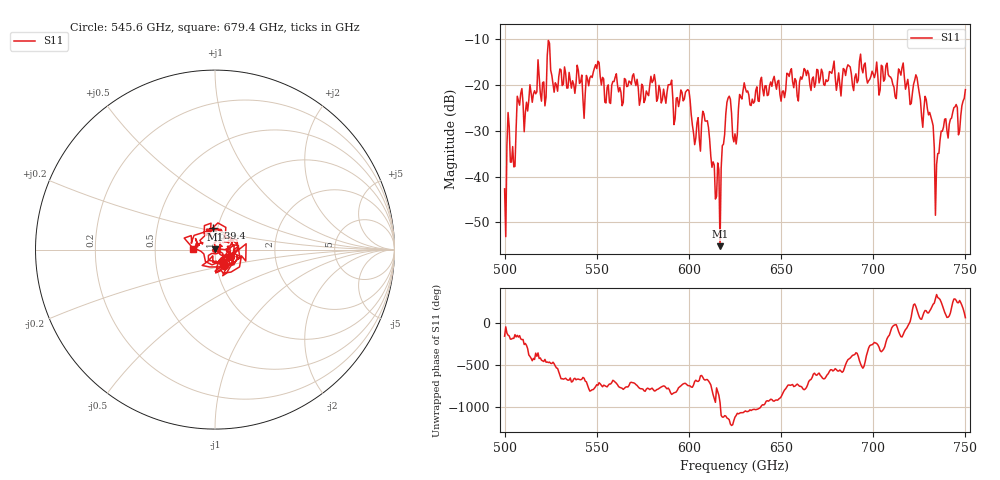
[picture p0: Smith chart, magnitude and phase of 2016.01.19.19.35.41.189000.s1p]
!Created with skrf (http://scikit-rf.org).
# GHz S RI R 50.0
!freq ReS11 ImS11
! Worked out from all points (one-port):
!   401 points, 500 GHz to 750 GHz, reference 50 ohm
!   lowest |S11| = -55.2 dB at 616.9 GHz (marker M1), VSWR 1.00, Z = 49.9 + j0.118 ohm
!   |S11| at or under -10 dB: start of sweep to end of sweep
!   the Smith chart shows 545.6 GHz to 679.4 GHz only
!   S11 on the Smith chart (normalised r, x): 545.6 GHz: 1.09, -0.19; 639.4 GHz: 0.95, +0.23; 679.4 GHz: 0.78, +0.01
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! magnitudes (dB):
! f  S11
! 500 GHz  -42.7
! 502.5 GHz  -29.1
! 505 GHz  -37.9
! 508.1 GHz  -24.4
! 521.2 GHz  -19.3
! 524.4 GHz  -10.9
! 527.5 GHz  -19.5
! 531.2 GHz  -20.1
! 545.6 GHz  -20.1
! 562.5 GHz  -20.5
! 593.8 GHz  -22.7
! 599.4 GHz  -21.0
! 603.1 GHz  -33.0
! 608.8 GHz  -27.8
! 615.6 GHz  -37.0
! 616.9 GHz  -55.2
! 621.2 GHz  -22.8
! 625 GHz  -30.7
! 628.8 GHz  -23.0
! 639.4 GHz  -18.3
! 656.2 GHz  -19.3
! 679.4 GHz  -18.3
! 687.5 GHz  -16.0
! 718.8 GHz  -18.7
! 729.4 GHz  -25.2
! 734.4 GHz  -37.4
! 738.1 GHz  -29.2
! 750 GHz  -21.0
